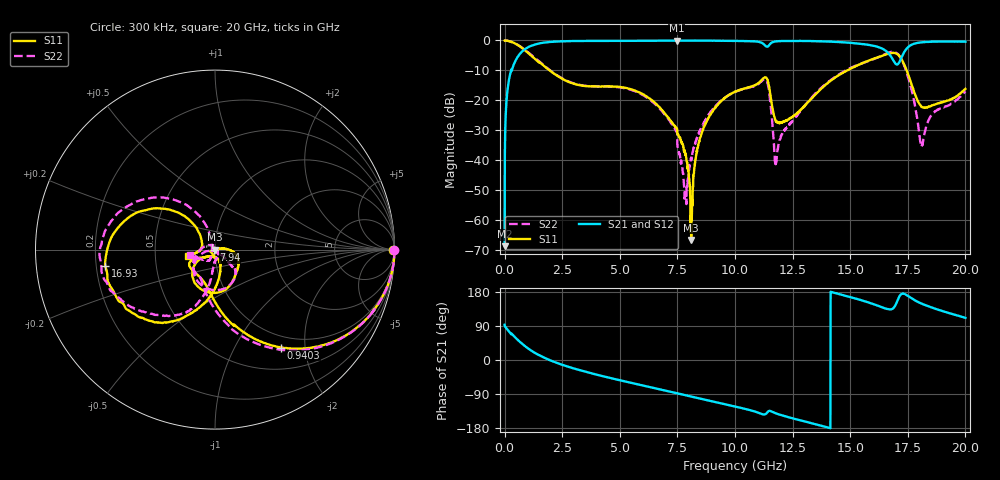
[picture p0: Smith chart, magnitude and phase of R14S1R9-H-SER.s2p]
!{R14S1R9}
!Johanson Technology Inc.
!www.johansontechnology.com
!Test Board Conditions:
!Substrate Type  RO4350B
!Substrate Thickness  20 mil
!Substrate Dk  3.66
!TL Type: GCPW
!TL Trace Width  36 mil
!TL Gap  12 mil
!Electrode orientation  Horizontal
!DUT TOPOLOGY	SERIES
!Mounting Pad LxW  26x36 mil
! Created Wed Nov 25 17:33:21 2020
! 2 Port Network Data from SP1.SP block
! freq  magS11  angS11  magS21  angS21  magS12  angS12  magS22  angS22
# khz S ma R 50
! decimated to every 10th point (10 MHz spacing) of the original 1 MHz Johanson file; values unchanged
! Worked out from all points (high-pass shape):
!   2001 points, 300 kHz to 20 GHz, reference 50 ohm
!   highest |S21| = -0.04 dB at 7.48 GHz (marker M1); lowest = -68.8 dB at 300 kHz (marker M2)
!   |S21| within 3 dB of the highest: 859.4 MHz to 16.46 GHz (15.6 GHz wide, 180 % of centre); 17.42 GHz to end of sweep
!   lowest |S11| = -66.7 dB at 8.1 GHz (marker M3), VSWR 1.00, Z = 50 - j0.0455 ohm
!   |S11| at or under -10 dB: 1.953 GHz to 14.87 GHz (12.92 GHz wide, 154 % of centre); 17.45 GHz to end of sweep
!   |S22| runs from -54.7 to 0.0 dB; largest |S21 - S12| = 0.014
!   S11 on the Smith chart (normalised r, x): 300 kHz: open; 940.3 MHz: 0.81, -1.57; 7.94 GHz: 0.99, -0.00; 16.93 GHz: 0.24, -0.07; 20 GHz: 0.74, -0.06
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300  0.9945 -0.1  0.0003649 93.0  0.0003593 81.3  0.9969 -0.1
110300  0.991 -8.5  0.1298 81.3  0.1304 81.3  0.9907 -8.5
190300  0.9736 -14.6  0.2204 75.1  0.2214 75.0  0.974 -14.5
940300  0.6583 -56.0  0.7402 34.0  0.74 34.0  0.6692 -56.5
3340300  0.1761 -117.4  0.9812 -28.1  0.9807 -28.1  0.178 -116.9
6670300  0.08035 -147.3  0.9927 -76.5  0.9923 -76.6  0.07691 176.6
7480300  0.03312 -99.4  0.9954 -87.7  0.9941 -87.8  0.02909 113.3
7820300  0.01371 -159.3  0.9928 -92.5  0.9942 -92.5  0.002594 -138.9
7940300  0.00718 -162.7  0.9929 -94.2  0.9943 -94.2  0.003848 -48.8
8100300  0.0004616 -80.5  0.9937 -96.5  0.9928 -96.4  0.01035 -37.8
8330300  0.01287 12.0  0.9937 -99.7  0.9927 -99.6  0.02263 -34.1
8660300  0.03625 10.4  0.9927 -104.3  0.9918 -104.2  0.04307 -37.8
1.00003e7  0.1387 -21.2  0.9831 -122.8  0.9816 -122.8  0.1379 -44.3
1.13403e7  0.2406 -100.3  0.8043 -142.3  0.8056 -142.2  0.2218 -99.8
1.17903e7  0.04419 -119.4  0.966 -141.2  0.9647 -141.2  0.009368 -76.7
1.33403e7  0.1094 -73.9  0.9769 -167.0  0.9789 -167.1  0.1125 -96.3
1.66703e7  0.5974 -150.3  0.6061 133.7  0.5934 133.6  0.6272 -160.0
1.69303e7  0.6184 -171.4  0.428 141.2  0.4209 141.3  0.6353 178.0
1.75003e7  0.2807 134.3  0.7648 169.5  0.7656 169.6  0.2528 119.1
1.81003e7  0.0774 156.8  0.9293 148.9  0.9301 148.4  0.01727 -174.3
1.85803e7  0.08251 -177.5  0.9547 137.5  0.9495 137.5  0.05994 -116.3
2e7  0.1553 -165.9  0.9549 111.3  0.9542 111.6  0.1408 -167.1
